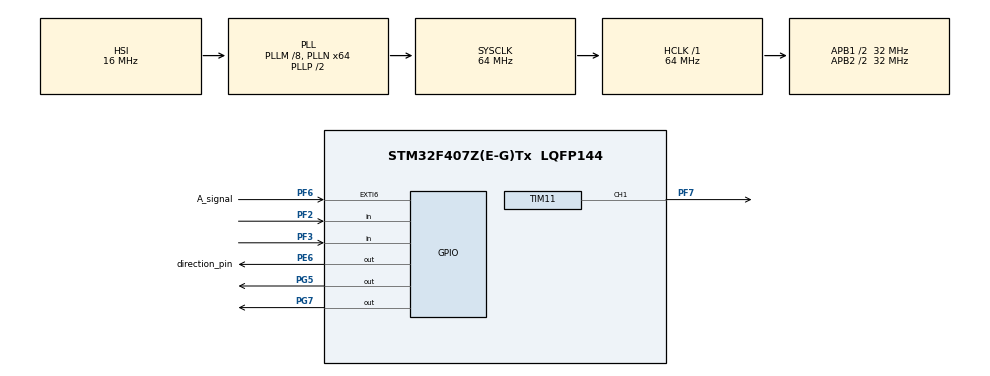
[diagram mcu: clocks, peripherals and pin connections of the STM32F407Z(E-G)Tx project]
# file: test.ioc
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Mcu.Family=STM32F4
Mcu.Name=STM32F407Z(E-G)Tx
Mcu.Package=LQFP144
NVIC.EXTI9_5_IRQn=true\:0\:0\:false\:false\:true\:true\:true\:true
NVIC.PriorityGroup=NVIC_PRIORITYGROUP_4
NVIC.TIM6_DAC_IRQn=true\:0\:0\:false\:false\:true\:true\:true\:true
NVIC.TIM7_IRQn=true\:0\:0\:false\:false\:true\:true\:true\:true
PE6.GPIO_Label=direction_pin
PE6.Signal=GPIO_Output
PF2.Signal=GPIO_Input
PF3.Signal=GPIO_Input
PF6.GPIO_Label=A_signal
PF6.Signal=GPXTI6
PF7.Signal=S_TIM11_CH1
PG5.Signal=GPIO_Output
PG7.Signal=GPIO_Output
ProjectManager.HeapSize=0x200
ProjectManager.StackSize=0x400
ProjectManager.TargetToolchain=STM32CubeIDE
RCC.48MHZClocksFreq_Value=32000000
RCC.AHBFreq_Value=64000000
RCC.APB1CLKDivider=RCC_HCLK_DIV2
RCC.APB1Freq_Value=32000000
RCC.APB1TimFreq_Value=64000000
RCC.APB2CLKDivider=RCC_HCLK_DIV2
RCC.APB2Freq_Value=32000000
RCC.APB2TimFreq_Value=64000000
RCC.CortexFreq_Value=64000000
RCC.HCLKFreq_Value=64000000
RCC.HSE_VALUE=25000000
RCC.HSI_VALUE=16000000
RCC.LSE_VALUE=32768
RCC.PLLM=8
RCC.PLLN=64
RCC.SYSCLKFreq_VALUE=64000000
RCC.SYSCLKSource=RCC_SYSCLKSOURCE_PLLCLK
RCC.VCOOutputFreq_Value=128000000
SH.S_TIM11_CH1.0=TIM11_CH1,PWM Generation1 CH1
TIM10.Period=999
TIM10.Prescaler=63
TIM11.AutoReloadPreload=TIM_AUTORELOAD_PRELOAD_ENABLE
TIM11.Channel=TIM_CHANNEL_1
TIM11.Period=1000
TIM11.Prescaler=3
TIM11.Pulse=500
TIM6.AutoReloadPreload=TIM_AUTORELOAD_PRELOAD_ENABLE
TIM6.Period=999
TIM6.Prescaler=830
TIM7.Period=999
TIM7.Prescaler=639
VP_TIM10_VS_ClockSourceINT.Mode=Enable_Timer
VP_TIM11_VS_ClockSourceINT.Mode=Enable_Timer
VP_TIM6_VS_ClockSourceINT.Mode=Enable_Timer
VP_TIM7_VS_ClockSourceINT.Mode=Enable_Timer
board=custom

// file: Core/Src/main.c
/* USER CODE BEGIN Header */
/**
  ******************************************************************************
  * @file           : main.c
  * @brief          : Main program body
  ******************************************************************************
  * @attention
  *
  * Copyright (c) 2023 STMicroelectronics.
  * All rights reserved.
  *
  * This software is licensed under terms that can be found in the LICENSE file
  * in the root directory of this software component.
  * If no LICENSE file comes with this software, it is provided AS-IS.
  *
  ******************************************************************************
  */
/* USER CODE END Header */
#include "main.h"

TIM_HandleTypeDef htim6;
TIM_HandleTypeDef htim7;
TIM_HandleTypeDef htim10;
TIM_HandleTypeDef htim11;

/* USER CODE BEGIN PV */
int delay_reference=1000;
int delay;
int number_pressed=1;
int statuse;  // 0: idle 1: first  2: second
int t6;
int test_tim7=0;
int number_A=0;
int number_A_sampled=0;
float rpm_t=0;
float rpm1,rpm2;
float k;
float TAU;
enum status{IDLE, K_FIND, TAU_FIND};
enum status state;

/*controller variable*/
float k_p = 0.3, k_i = 0.7, setpoint = 777;	// SET VALUE
float error_integral=0;
float Ts=.013;
float control_output;
float control_error;
int direction;
float setpoint_array[4]={350,500,700,800};
float t_array[4]={5,10,15,20};
float sys_time;
int t1s;
/* USER CODE END PV */

void SystemClock_Config(void);
static void MX_GPIO_Init(void);
static void MX_TIM6_Init(void);
static void MX_TIM7_Init(void);
static void MX_TIM11_Init(void);
static void MX_TIM10_Init(void);

int main(void)
{
  /* USER CODE BEGIN 1 */
	int i;

	// External Interrupt ISR Handler CallBackFun

  /* USER CODE END 1 */

  /* MCU Configuration--------------------------------------------------------*/

  /* Reset of all peripherals, Initializes the Flash interface and the Systick. */
  HAL_Init();

  /* Configure the system clock */
  SystemClock_Config();

  /* Initialize all configured peripherals */
  MX_GPIO_Init();
  MX_TIM6_Init();
  MX_TIM7_Init();
  MX_TIM11_Init();
  MX_TIM10_Init();
  /* USER CODE BEGIN 2 */
  HAL_TIM_Base_Start_IT(&htim7);
  HAL_TIM_Base_Start_IT(&htim6);
  HAL_GPIO_WritePin(GPIOG,GPIO_PIN_7, GPIO_PIN_RESET);

  HAL_TIM_PWM_Start(&htim11, TIM_CHANNEL_1);

  /* USER CODE END 2 */

  /* Infinite loop */
  /* USER CODE BEGIN WHILE */
  int counted_time = 0;
  while (1)
  {

	  if (sys_time - counted_time == t_array[i] * 100) {
		  counted_time = sys_time;
		  i = (i + 1) % 4;
		  setpoint = setpoint_array[i];
	  }
//	  for(i=0;i<4;i++){
//		  if(sys_time==500){
//			  setpoint=setpoint_array[i];
//		  }
//	  }
    /* USER CODE END WHILE */

  }
}

void SystemClock_Config(void)
{
  RCC_OscInitTypeDef RCC_OscInitStruct = {0};
  RCC_ClkInitTypeDef RCC_ClkInitStruct = {0};

  /** Configure the main internal regulator output voltage
  */
  __HAL_RCC_PWR_CLK_ENABLE();
  __HAL_PWR_VOLTAGESCALING_CONFIG(PWR_REGULATOR_VOLTAGE_SCALE1);

  /** Initializes the RCC Oscillators according to the specified parameters
  * in the RCC_OscInitTypeDef structure.
  */
  RCC_OscInitStruct.OscillatorType = RCC_OSCILLATORTYPE_HSI;
  RCC_OscInitStruct.HSIState = RCC_HSI_ON;
  RCC_OscInitStruct.HSICalibrationValue = RCC_HSICALIBRATION_DEFAULT;
  RCC_OscInitStruct.PLL.PLLState = RCC_PLL_ON;
  RCC_OscInitStruct.PLL.PLLSource = RCC_PLLSOURCE_HSI;
  RCC_OscInitStruct.PLL.PLLM = 8;
  RCC_OscInitStruct.PLL.PLLN = 64;
  RCC_OscInitStruct.PLL.PLLP = RCC_PLLP_DIV2;
  RCC_OscInitStruct.PLL.PLLQ = 4;
  if (HAL_RCC_OscConfig(&RCC_OscInitStruct) != HAL_OK)
  {
    Error_Handler();
  }

  /** Initializes the CPU, AHB and APB buses clocks
  */
  RCC_ClkInitStruct.ClockType = RCC_CLOCKTYPE_HCLK|RCC_CLOCKTYPE_SYSCLK
                              |RCC_CLOCKTYPE_PCLK1|RCC_CLOCKTYPE_PCLK2;
  RCC_ClkInitStruct.SYSCLKSource = RCC_SYSCLKSOURCE_PLLCLK;
  RCC_ClkInitStruct.AHBCLKDivider = RCC_SYSCLK_DIV1;
  RCC_ClkInitStruct.APB1CLKDivider = RCC_HCLK_DIV2;
  RCC_ClkInitStruct.APB2CLKDivider = RCC_HCLK_DIV2;

  if (HAL_RCC_ClockConfig(&RCC_ClkInitStruct, FLASH_LATENCY_2) != HAL_OK)
  {
    Error_Handler();
  }
}

static void MX_TIM6_Init(void)
{

  TIM_MasterConfigTypeDef sMasterConfig = {0};

  htim6.Instance = TIM6;
  htim6.Init.Prescaler = 830;
  htim6.Init.CounterMode = TIM_COUNTERMODE_UP;
  htim6.Init.Period = 999;
  htim6.Init.AutoReloadPreload = TIM_AUTORELOAD_PRELOAD_ENABLE;
  if (HAL_TIM_Base_Init(&htim6) != HAL_OK)
  {
    Error_Handler();
  }
  sMasterConfig.MasterOutputTrigger = TIM_TRGO_RESET;
  sMasterConfig.MasterSlaveMode = TIM_MASTERSLAVEMODE_DISABLE;
  if (HAL_TIMEx_MasterConfigSynchronization(&htim6, &sMasterConfig) != HAL_OK)
  {
    Error_Handler();
  }

}

static void MX_TIM7_Init(void)
{

  TIM_MasterConfigTypeDef sMasterConfig = {0};

  htim7.Instance = TIM7;
  htim7.Init.Prescaler = 639;
  htim7.Init.CounterMode = TIM_COUNTERMODE_UP;
  htim7.Init.Period = 999;
  htim7.Init.AutoReloadPreload = TIM_AUTORELOAD_PRELOAD_DISABLE;
  if (HAL_TIM_Base_Init(&htim7) != HAL_OK)
  {
    Error_Handler();
  }
  sMasterConfig.MasterOutputTrigger = TIM_TRGO_RESET;
  sMasterConfig.MasterSlaveMode = TIM_MASTERSLAVEMODE_DISABLE;
  if (HAL_TIMEx_MasterConfigSynchronization(&htim7, &sMasterConfig) != HAL_OK)
  {
    Error_Handler();
  }

}

static void MX_TIM10_Init(void)
{

  htim10.Instance = TIM10;
  htim10.Init.Prescaler = 63;
  htim10.Init.CounterMode = TIM_COUNTERMODE_UP;
  htim10.Init.Period = 999;
  htim10.Init.ClockDivision = TIM_CLOCKDIVISION_DIV1;
  htim10.Init.AutoReloadPreload = TIM_AUTORELOAD_PRELOAD_DISABLE;
  if (HAL_TIM_Base_Init(&htim10) != HAL_OK)
  {
    Error_Handler();
  }

}

static void MX_TIM11_Init(void)
{

  TIM_OC_InitTypeDef sConfigOC = {0};

  htim11.Instance = TIM11;
  htim11.Init.Prescaler = 3;
  htim11.Init.CounterMode = TIM_COUNTERMODE_UP;
  htim11.Init.Period = 1000;
  htim11.Init.ClockDivision = TIM_CLOCKDIVISION_DIV1;
  htim11.Init.AutoReloadPreload = TIM_AUTORELOAD_PRELOAD_ENABLE;
  if (HAL_TIM_Base_Init(&htim11) != HAL_OK)
  {
    Error_Handler();
  }
  if (HAL_TIM_PWM_Init(&htim11) != HAL_OK)
  {
    Error_Handler();
  }
  sConfigOC.OCMode = TIM_OCMODE_PWM1;
  sConfigOC.Pulse = 500;
  sConfigOC.OCPolarity = TIM_OCPOLARITY_HIGH;
  sConfigOC.OCFastMode = TIM_OCFAST_DISABLE;
  if (HAL_TIM_PWM_ConfigChannel(&htim11, &sConfigOC, TIM_CHANNEL_1) != HAL_OK)
  {
    Error_Handler();
  }
  HAL_TIM_MspPostInit(&htim11);

}

static void MX_GPIO_Init(void)
{
  GPIO_InitTypeDef GPIO_InitStruct = {0};

  /* GPIO Ports Clock Enable */
  __HAL_RCC_GPIOE_CLK_ENABLE();
  __HAL_RCC_GPIOF_CLK_ENABLE();
  __HAL_RCC_GPIOG_CLK_ENABLE();

  /*Configure GPIO pin Output Level */
  HAL_GPIO_WritePin(direction_pin_GPIO_Port, direction_pin_Pin, GPIO_PIN_RESET);

  /*Configure GPIO pin Output Level */
  HAL_GPIO_WritePin(GPIOG, GPIO_PIN_5|GPIO_PIN_7, GPIO_PIN_RESET);

  /*Configure GPIO pin : direction_pin_Pin */
  GPIO_InitStruct.Pin = direction_pin_Pin;
  GPIO_InitStruct.Mode = GPIO_MODE_OUTPUT_PP;
  GPIO_InitStruct.Pull = GPIO_NOPULL;
  GPIO_InitStruct.Speed = GPIO_SPEED_FREQ_LOW;
  HAL_GPIO_Init(direction_pin_GPIO_Port, &GPIO_InitStruct);

  /*Configure GPIO pins : PF2 PF3 */
  GPIO_InitStruct.Pin = GPIO_PIN_2|GPIO_PIN_3;
  GPIO_InitStruct.Mode = GPIO_MODE_INPUT;
  GPIO_InitStruct.Pull = GPIO_NOPULL;
  HAL_GPIO_Init(GPIOF, &GPIO_InitStruct);

  /*Configure GPIO pin : A_signal_Pin */
  GPIO_InitStruct.Pin = A_signal_Pin;
  GPIO_InitStruct.Mode = GPIO_MODE_IT_RISING;
  GPIO_InitStruct.Pull = GPIO_NOPULL;
  HAL_GPIO_Init(A_signal_GPIO_Port, &GPIO_InitStruct);

  /*Configure GPIO pins : PG5 PG7 */
  GPIO_InitStruct.Pin = GPIO_PIN_5|GPIO_PIN_7;
  GPIO_InitStruct.Mode = GPIO_MODE_OUTPUT_PP;
  GPIO_InitStruct.Pull = GPIO_NOPULL;
  GPIO_InitStruct.Speed = GPIO_SPEED_FREQ_LOW;
  HAL_GPIO_Init(GPIOG, &GPIO_InitStruct);

  /* EXTI interrupt init*/
  HAL_NVIC_SetPriority(EXTI9_5_IRQn, 0, 0);
  HAL_NVIC_EnableIRQ(EXTI9_5_IRQn);

}

/* USER CODE BEGIN 4 */
/*
void HAL_GPIO_EXTI_Callback(uint16_t pin)
{

	if(pin == GPIO_PIN_3){
		statuse+=1;

		 if(statuse==1){
			 __HAL_TIM_SET_COUNTER(&htim6, 0);
			 t6=0;
			 HAL_TIM_Base_Start(&htim6);

		 }else if(statuse==2){
			 HAL_TIM_Base_Stop(&htim6);
			 t6=__HAL_TIM_GetCounter(&htim6);
			 statuse=0;
		 }

	}
}
*/
void HAL_TIM_PeriodElapsedCallback(TIM_HandleTypeDef* htim)
{
	if(htim->Instance==TIM7){
		number_A_sampled=number_A;
		number_A=0;
		sys_time++;
	}
	if(htim->Instance==TIM6){
		rpm2 = (number_A_sampled*6000)/1024;
		control_error = setpoint - rpm2;
		control_output = k_p * control_error + k_i * error_integral;
		error_integral += control_error * Ts;
//		TIM11->CCR1 = (int)(control_output * 12 / 1024);
		direction = control_output > 0;
		TIM11->CCR1 = direction ? (int)(control_output) : (int)(-control_output);
		HAL_GPIO_WritePin(GPIOE,GPIO_PIN_6,direction);
	}
}

void HAL_GPIO_EXTI_Callback(uint16_t pin)
{
	if(pin == GPIO_PIN_6){
		number_A++;
		 }
}

/* USER CODE END 4 */

void Error_Handler(void)
{
  __disable_irq();
  while (1)
  {
  }
}
